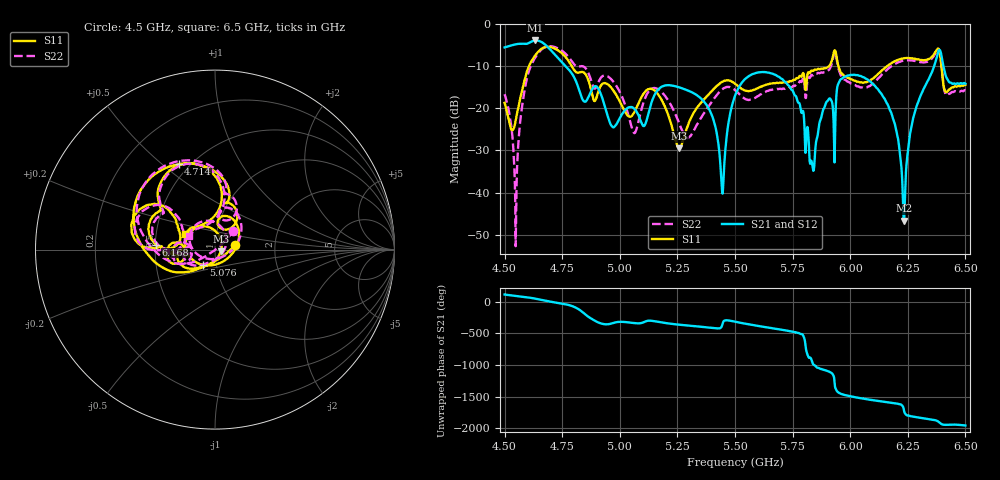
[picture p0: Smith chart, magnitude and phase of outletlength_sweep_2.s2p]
! TOUCHSTONE file generated by CST MICROWAVE STUDIO
! Date and time: Fri Nov 29 14:48:28 2024
! Project name: dual_circularly_polarized_waveguide_antenna.cst
! Parameters = {airCoaxOuterDiameter=3; chamferAngle=45; chamferWidth=24; connectorLength=10; drillingHoleDiameter=4.1; feedLength=60; flareDiameter=130; flareLength=70; gratingDistance=0; gratingGap=1.90274; outletLength=45; polarizerLength=134; probe1Diameter=1.3; probe1Distance=14.068; probe1Leng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
! Header version: 2018
! Port assignment regex: !\s*Touchstone port\s*([0-9]+)\s*=\s*(CST MWS port|CST DS port)\s*([0-9]+|Zmin|Zmax)\s*\(\"(.*)\"\)(\s*mode\s*([0-9]+))?.*
! Touchstone port assignment:
! Touchstone port 1 = CST MWS port 1 ("Input1")
! Touchstone port 2 = CST MWS port 2 ("Input2")
# GHz S MA R 50
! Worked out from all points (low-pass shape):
!   1001 points, 4.5 GHz to 6.5 GHz, reference 50 ohm
!   highest |S21| = -3.89 dB at 4.634 GHz (marker M1); lowest = -46.7 dB at 6.234 GHz (marker M2)
!   |S21| within 3 dB of the highest: start of sweep to 4.712 GHz; 6.380227 GHz to 6.393925 GHz (13.7 MHz wide, 0.214 % of centre)
!   lowest |S11| = -29.5 dB at 5.258 GHz (marker M3), VSWR 1.07, Z = 53.3 - j1.1 ohm
!   |S11| at or under -10 dB: start of sweep to 4.606 GHz; 4.792 GHz to 5.908 GHz (1.117 GHz wide, 20.9 % of centre); 5.949 GHz to 6.16 GHz (211.5 MHz wide, 3.49 % of centre)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
!   |S22| runs from -52.7 to -5.3 dB; largest |S21 - S12| = 1.9e-06
!   S11 on the Smith chart (normalised r, x): 4.5 GHz: 1.25, +0.07; 4.714 GHz: 0.44, +0.57; 5.076 GHz: 0.87, -0.15; 6.168 GHz: 0.51, +0.03; 6.5 GHz: 0.70, +0.13
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4.5  0.116 14.1  0.5283 110.0  0.5283 110.0  0.1471 45.9
4.548  0.07135 -98.7  0.5739 88.1  0.5739 88.1  0.002311 -1.3
4.584  0.2025 -141.8  0.5835 70.8  0.5835 70.8  0.1485 -150.9
4.634  0.4287 172.7  0.639 44.4  0.639 44.4  0.4046 169.3
4.714  0.5174 113.1  0.4474 -11.6  0.4474 -11.6  0.5372 114.9
4.834  0.2711 73.9  0.1358 -154.6  0.1358 -154.6  0.3168 77.9
5.076  0.107 -126.8  0.08798 16.2  0.08798 16.2  0.06111 -121.3
5.168  0.144 115.7  0.1687 38.9  0.1687 38.9  0.1672 105.8
5.258  0.03363 -17.9  0.1773 -5.6  0.1773 -5.6  0.06603 22.2
5.392  0.1528 -136.7  0.0924 -53.5  0.0924 -53.5  0.1123 -130.6
5.444  0.206 -154.9  0.01038 -17.6  0.01038 -17.6  0.1676 -153.4
5.5  0.196 -178.4  0.1409 42.6  0.1409 42.6  0.1645 178.0
5.712  0.203 -175.6  0.212 -90.9  0.212 -90.9  0.1715 -176.4
5.788  0.2379 -176.1  0.08871 -152.8  0.08871 -152.8  0.2053 -175.4
5.834  0.2807 -175.0  0.02246 140.3  0.02246 140.3  0.249 -173.2
5.966  0.2559 146.1  0.2266 -23.2  0.2266 -23.2  0.2346 143.6
6.168  0.3283 175.1  0.1023 -151.7  0.1023 -151.7  0.3001 177.6
6.234  0.3927 159.9  0.004622 74.3  0.004622 74.3  0.3686 161.3
6.276  0.3881 149.8  0.08133 -17.1  0.08133 -17.1  0.3659 150.5
6.382  0.5121 113.5  0.4685 -92.1  0.4685 -92.1  0.507 113.8
6.418  0.1556 118.2  0.2312 -142.9  0.2312 -142.9  0.1428 110.9
6.5  0.1904 152.1  0.1961 -154.0  0.1961 -154.0  0.1642 151.9
